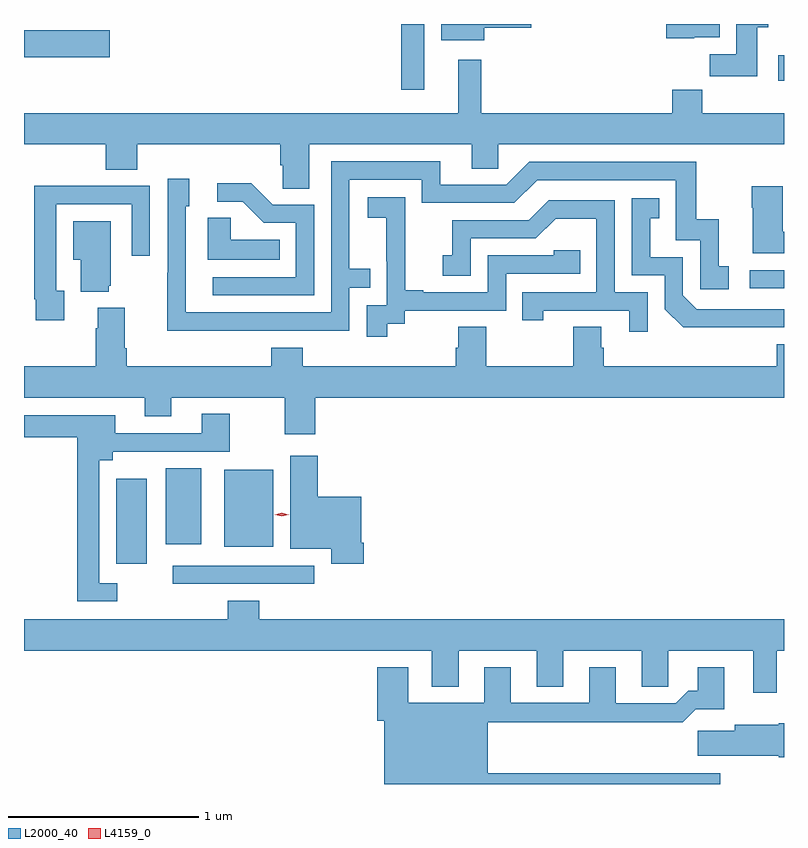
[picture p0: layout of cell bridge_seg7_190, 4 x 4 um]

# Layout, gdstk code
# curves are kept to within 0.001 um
import gdstk
lib = gdstk.Library(unit=1e-6, precision=1e-09)
def R(c, l, rs):  # rectangles x0, y0, x1, y1
    for r in rs: c.add(gdstk.rectangle(r[:2], r[2:], *l))
def P(c, l, *ps):  # polygons
    for p in ps: c.add(gdstk.Polygon(p, *l))
L2000_40 = (2000, 40)
L4159_0 = (4159, 0)

bridge_seg7_190 = lib.new_cell('bridge_seg7_190')
R(bridge_seg7_190, L2000_40, [(374.967,1011.624,375.712,1011.72), (374.669,1011.729,374.83,1012.177), (375.239,1011.818,375.496,1012.225), (374.93,1011.833,375.118,1012.231), (378.003,1013.178,378.184,1013.274), (376.17,1014.225,376.291,1014.57), (378.153,1014.272,378.184,1014.406), (374.184,1014.394,374.635,1014.536)])
P(bridge_seg7_190, L2000_40, [(376.606,1014.55),(376.855,1014.55),(376.855,1014.57),(376.379,1014.57),(376.379,1014.485),(376.606,1014.485)],
  [(378.043,1014.553),(378.1,1014.553),(378.1,1014.57),(377.933,1014.57),(377.933,1014.412),(377.794,1014.412),(377.794,1014.294),(378.043,1014.294)],
  [(377.712,1014.5),(377.845,1014.5),(377.845,1014.57),(377.564,1014.57),(377.564,1014.494),(377.712,1014.494)],
  [(375.685,1013.936),(376.541,1013.936),(376.541,1013.809),(376.68,1013.809),(376.68,1013.936),(378.184,1013.936),(378.184,1014.1),(377.753,1014.1),(377.753,1014.224),(377.597,1014.224),(377.597,1014.1),(376.591,1014.1),(376.591,1014.382),(376.469,1014.382),(376.469,1014.1),(374.184,1014.1),(374.184,1013.936),(374.615,1013.936),(374.615,1013.803),(374.78,1013.803),(374.78,1013.936),(375.533,1013.936),(375.533,1013.827),(375.546,1013.827),(375.546,1013.704),(375.685,1013.704)],
  [(375.401,1012.956),(375.897,1012.956),(375.897,1013.181),(376.007,1013.181),(376.007,1013.282),(375.897,1013.282),(375.897,1013.751),(376.278,1013.751),(376.278,1013.628),(376.764,1013.628),(376.884,1013.748),(377.613,1013.748),(377.613,1013.433),(377.742,1013.433),(377.742,1013.175),(377.893,1013.175),(377.893,1013.295),(377.84,1013.295),(377.84,1013.542),(377.722,1013.542),(377.722,1013.844),(376.842,1013.844),(376.722,1013.724),(376.375,1013.724),(376.375,1013.847),(375.801,1013.847),(375.801,1013.052),(375.036,1013.052),(375.036,1013.61),(375.055,1013.61),(375.055,1013.755),(374.94,1013.755),(374.94,1013.261),(374.938,1013.261),(374.938,1012.955)],
  [(375.711,1013.619),(375.492,1013.619),(375.379,1013.732),(375.201,1013.732),(375.201,1013.634),(375.335,1013.634),(375.446,1013.523),(375.615,1013.523),(375.615,1013.238),(375.177,1013.238),(375.177,1013.142),(375.711,1013.142)],
  [(374.395,1013.166),(374.355,1013.166),(374.355,1013.622),(374.751,1013.622),(374.751,1013.349),(374.847,1013.349),(374.847,1013.718),(374.531,1013.718),(374.531,1013.72),(374.239,1013.72),(374.239,1013.122),(374.247,1013.122),(374.247,1013.01),(374.395,1013.01)],
  [(378.184,1013.477),(378.178,1013.477),(378.178,1013.716),(378.013,1013.716),(378.013,1013.603),(378.02,1013.603),(378.02,1013.363),(378.184,1013.363)],
  [(376.096,1012.993),(376.188,1012.993),(376.188,1013.061),(376.722,1013.061),(376.722,1013.256),(377.111,1013.256),(377.111,1013.379),(376.971,1013.379),(376.971,1013.352),(376.626,1013.352),(376.626,1013.157),(376.285,1013.157),(376.285,1013.17),(376.19,1013.17),(376.19,1013.453),(376.191,1013.453),(376.191,1013.659),(375.993,1013.659),(375.993,1013.549),(376.091,1013.549),(376.091,1013.321),(376.092,1013.321),(376.092,1013.091),(375.987,1013.091),(375.987,1012.923),(376.096,1012.923)],
  [(378.062,1012.974),(378.184,1012.974),(378.184,1013.07),(377.724,1013.07),(377.652,1013.142),(377.652,1013.343),(377.479,1013.343),(377.479,1013.547),(377.528,1013.547),(377.528,1013.653),(377.382,1013.653),(377.382,1013.247),(377.556,1013.247),(377.556,1013.07),(377.654,1012.973)],
  [(377.466,1013.157),(377.292,1013.157),(377.292,1013.643),(376.946,1013.643),(376.841,1013.538),(376.438,1013.538),(376.438,1013.353),(376.389,1013.353),(376.389,1013.244),(376.536,1013.244),(376.536,1013.442),(376.878,1013.442),(376.982,1013.546),(377.196,1013.546),(377.196,1013.157),(376.807,1013.157),(376.807,1013.01),(376.918,1013.01),(376.918,1013.061),(377.369,1013.061),(377.369,1012.95),(377.466,1012.95)],
  [(375.53,1013.434),(375.273,1013.434),(375.273,1013.549),(375.152,1013.549),(375.152,1013.33),(375.53,1013.33)],
  [(374.63,1013.193),(374.641,1013.193),(374.641,1013.533),(374.444,1013.533),(374.444,1013.33),(374.483,1013.33),(374.483,1013.162),(374.63,1013.162)],
  [(375.716,1012.604),(378.184,1012.604),(378.184,1012.885),(378.146,1012.885),(378.146,1012.768),(377.234,1012.768),(377.234,1012.866),(377.221,1012.866),(377.221,1012.976),(377.074,1012.976),(377.074,1012.768),(376.617,1012.768),(376.617,1012.976),(376.469,1012.976),(376.469,1012.866),(376.457,1012.866),(376.457,1012.768),(375.65,1012.768),(375.65,1012.867),(375.485,1012.867),(375.485,1012.768),(374.726,1012.768),(374.726,1012.864),(374.713,1012.864),(374.713,1013.077),(374.573,1013.077),(374.573,1012.97),(374.561,1012.97),(374.561,1012.768),(374.184,1012.768),(374.184,1012.604),(374.819,1012.604),(374.819,1012.505),(374.959,1012.505),(374.959,1012.604),(375.556,1012.604),(375.556,1012.41),(375.716,1012.41)],
  [(374.674,1011.627),(374.58,1011.627),(374.58,1012.274),(374.65,1012.274),(374.65,1012.32),(375.267,1012.32),(375.267,1012.519),(375.119,1012.519),(375.119,1012.416),(374.665,1012.416),(374.665,1012.512),(374.184,1012.512),(374.184,1012.396),(374.464,1012.396),(374.464,1011.531),(374.674,1011.531)],
  [(375.971,1011.841),(375.958,1011.841),(375.958,1012.081),(375.731,1012.081),(375.731,1012.297),(375.584,1012.297),(375.584,1011.809),(375.8,1011.809),(375.8,1011.729),(375.971,1011.729)],
  [(378.145,1011.272),(378.184,1011.272),(378.184,1011.436),(375.422,1011.436),(375.422,1011.535),(375.257,1011.535),(375.257,1011.436),(374.184,1011.436),(374.184,1011.272),(376.331,1011.272),(376.331,1011.083),(376.471,1011.083),(376.471,1011.272),(376.883,1011.272),(376.883,1011.082),(377.023,1011.082),(377.023,1011.272),(377.435,1011.272),(377.435,1011.082),(377.574,1011.082),(377.574,1011.272),(378.023,1011.272),(378.023,1011.051),(378.145,1011.051)],
  [(377.848,1010.626),(376.624,1010.626),(376.624,1010.896),(377.395,1010.896),(377.395,1010.894),(377.651,1010.894),(377.72,1010.963),(377.869,1010.963),(377.869,1011.184),(377.729,1011.184),(377.729,1011.061),(377.68,1011.061),(377.613,1010.994),(377.299,1010.994),(377.299,1011.184),(377.159,1011.184),(377.159,1010.997),(376.747,1010.997),(376.747,1011.184),(376.607,1011.184),(376.607,1010.998),(376.207,1010.998),(376.207,1011.184),(376.043,1011.184),(376.043,1010.904),(376.079,1010.904),(376.079,1010.57),(377.848,1010.57)],
  [(378.184,1010.889),(378.156,1010.889),(378.156,1010.881),(377.924,1010.881),(377.924,1010.849),(377.73,1010.849),(377.73,1010.72),(378.156,1010.72),(378.156,1010.711),(378.184,1010.711)])
P(bridge_seg7_190, L4159_0, [(375.54,1011.978),(375.504,1011.988),(375.504,1011.988),(375.504,1011.988),(375.54,1011.998),(375.577,1011.988),(375.577,1011.988),(375.577,1011.988)])

lib.write_gds('bridge_seg7_190.gds')
